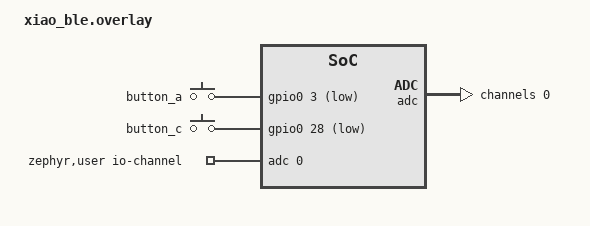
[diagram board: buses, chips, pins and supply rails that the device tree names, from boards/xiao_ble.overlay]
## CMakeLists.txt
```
cmake_minimum_required(VERSION 3.20.0)

find_package(Zephyr REQUIRED HINTS $ENV{ZEPHYR_BASE})
project(tethos_pet)

target_sources(app PRIVATE
  src/main.c
  src/update_mode.c
  src/battery.c
  src/pet_save.c
)
```

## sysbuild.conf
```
# MCUboot in front of the app, so updates land in slot 1 and roll back if unconfirmed.
SB_CONFIG_BOOTLOADER_MCUBOOT=y

# Only images signed with our key will boot.
SB_CONFIG_BOOT_SIGNATURE_TYPE_ECDSA_P256=y
SB_CONFIG_BOOT_SIGNATURE_KEY_FILE="\${APP_DIR}/keys/signing-key.pem"
```

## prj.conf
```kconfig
CONFIG_LOG=y
CONFIG_GPIO=y
CONFIG_ADC=y
CONFIG_REBOOT=y

# Bluetooth peripheral
CONFIG_BT=y
CONFIG_BT_PERIPHERAL=y
CONFIG_BT_DEVICE_NAME="Tethos Pet"

# DFU over BLE: MCUmgr + SMP GATT service + image/OS management
CONFIG_NCS_SAMPLE_MCUMGR_BT_OTA_DFU=y
CONFIG_NCS_SAMPLE_MCUMGR_BT_OTA_DFU_SPEEDUP=y

# Pet save lives in its own flash partition, outside the image slots
CONFIG_FLASH=y
CONFIG_FLASH_MAP=y
CONFIG_NVS=y
CONFIG_SETTINGS=y
CONFIG_SETTINGS_NVS=y
```

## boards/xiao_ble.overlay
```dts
#include <zephyr/dt-bindings/adc/nrf-saadc.h>
#include <zephyr/dt-bindings/input/input-event-codes.h>

/*
 * Dev board wiring: buttons from D1 and D2 to GND.
 * The production board maps these to the real A and C buttons.
 */
/ {
	pet_buttons {
		compatible = "gpio-keys";

		button_a: button_a {
			gpios = <&gpio0 3 (GPIO_PULL_UP | GPIO_ACTIVE_LOW)>;
			zephyr,code = <INPUT_KEY_A>;
		};

		button_c: button_c {
			gpios = <&gpio0 28 (GPIO_PULL_UP | GPIO_ACTIVE_LOW)>;
			zephyr,code = <INPUT_KEY_C>;
		};
	};

	zephyr,user {
		io-channels = <&adc 0>;
	};
};

/* Supply voltage (the coin cell on the production board) */
&adc {
	#address-cells = <1>;
	#size-cells = <0>;
	status = "okay";

	channel@0 {
		reg = <0>;
		zephyr,gain = "ADC_GAIN_1_6";
		zephyr,reference = "ADC_REF_INTERNAL";
		zephyr,acquisition-time = <ADC_ACQ_TIME_DEFAULT>;
		zephyr,input-positive = <NRF_SAADC_VDD>;
		zephyr,resolution = <12>;
	};
};
```

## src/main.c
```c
#include "battery.h"
#include "pet_save.h"
#include "update_mode.h"

#include <app_version.h>
#include <zephyr/bluetooth/bluetooth.h>
#include <zephyr/dfu/mcuboot.h>
#include <zephyr/drivers/gpio.h>
#include <zephyr/kernel.h>
#include <zephyr/logging/log.h>
#include <zephyr/sys/reboot.h>

LOG_MODULE_REGISTER(main, LOG_LEVEL_INF);

/* Change this between versions to see an update land: v1.0 blinks slowly. */
#define BLINK_MS 1000

static const struct gpio_dt_spec led = GPIO_DT_SPEC_GET(DT_ALIAS(led0), gpios);

/*
 * After an update, MCUboot runs the new image once in "test" mode. If we
 * reboot without confirming, MCUboot restores the previous image. Only
 * confirm once everything needed for the *next* update works, so a release
 * that breaks Bluetooth can never strand a pet.
 */
static void confirm_or_revert(bool healthy)
{
	if (boot_is_img_confirmed()) {
		return;
	}
	if (!healthy) {
		LOG_ERR("Self-test failed, reverting to previous firmware");
		k_sleep(K_MSEC(100));
		sys_reboot(SYS_REBOOT_COLD);
	}
	if (boot_write_img_confirmed()) {
		LOG_ERR("Could not confirm image");
		return;
	}
	LOG_INF("New firmware confirmed");
}

int main(void)
{
	bool healthy = true;
	int err;

	LOG_INF("Tethos Pet v%s", APP_VERSION_STRING);

	err = pet_save_load();
	if (err) {
		LOG_ERR("Save load failed (%d)", err);
		healthy = false;
	}

	err = battery_init();
	if (err) {
		LOG_ERR("Battery ADC failed (%d)", err);
		healthy = false;
	}

	err = bt_enable(NULL);
	if (err) {
		LOG_ERR("Bluetooth failed (%d)", err);
		healthy = false;
	}

	err = update_mode_init();
	if (err) {
		LOG_ERR("Update mode init failed (%d)", err);
		healthy = false;
	}

	confirm_or_revert(healthy);

	pet.boot_count++;
	pet_save_write();
	LOG_INF("Boot #%u, save v%u", pet.boot_count, pet.version);

	gpio_pin_configure_dt(&led, GPIO_OUTPUT_INACTIVE);
	while (1) {
		gpio_pin_toggle_dt(&led);
		k_sleep(K_MSEC(BLINK_MS));
	}
	return 0;
}
```

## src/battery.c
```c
#include "battery.h"

#include <zephyr/drivers/adc.h>
#include <zephyr/logging/log.h>

LOG_MODULE_REGISTER(battery, LOG_LEVEL_INF);

static const struct adc_dt_spec vdd = ADC_DT_SPEC_GET(DT_PATH(zephyr_user));

int battery_init(void)
{
	if (!adc_is_ready_dt(&vdd)) {
		return -ENODEV;
	}
	return adc_channel_setup_dt(&vdd);
}

int battery_mv(void)
{
	int16_t raw;
	struct adc_sequence seq = {
		.buffer = &raw,
		.buffer_size = sizeof(raw),
	};
	int err;

	err = adc_sequence_init_dt(&vdd, &seq);
	if (err) {
		return err;
	}
	err = adc_read_dt(&vdd, &seq);
	if (err) {
		return err;
	}

	int32_t mv = raw;

	err = adc_raw_to_millivolts_dt(&vdd, &mv);
	if (err) {
		return err;
	}
	return mv;
}
```

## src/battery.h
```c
#pragma once

/* Returns supply voltage in mV, or a negative errno. */
int battery_init(void);
int battery_mv(void);
```

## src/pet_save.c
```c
#include "pet_save.h"

#include <string.h>
#include <zephyr/logging/log.h>
#include <zephyr/settings/settings.h>

LOG_MODULE_REGISTER(pet_save, LOG_LEVEL_INF);

struct pet_save pet;

static int pet_set(const char *key, size_t len, settings_read_cb read_cb, void *cb_arg)
{
	if (strcmp(key, "save") != 0) {
		return -ENOENT;
	}

	/* An older save may be shorter than the current struct; new fields keep their defaults. */
	ssize_t n = read_cb(cb_arg, &pet, MIN(len, sizeof(pet)));

	return n < 0 ? (int)n : 0;
}

SETTINGS_STATIC_HANDLER_DEFINE(pet, "pet", NULL, pet_set, NULL, NULL);

static void migrate(void)
{
	if (pet.version == PET_SAVE_VERSION) {
		return;
	}
	LOG_INF("Migrating save v%u -> v%u", pet.version, PET_SAVE_VERSION);

	/* Add one block per version, e.g.:
	 * if (pet.version < 2) { pet.new_field = DEFAULT; }
	 */

	pet.version = PET_SAVE_VERSION;
}

int pet_save_load(void)
{
	int err;

	memset(&pet, 0, sizeof(pet));
	pet.version = PET_SAVE_VERSION;

	err = settings_subsys_init();
	if (err) {
		return err;
	}
	err = settings_load_subtree("pet");
	if (err) {
		return err;
	}
	migrate();
	return 0;
}

int pet_save_write(void)
{
	return settings_save_one("pet/save", &pet, sizeof(pet));
}
```

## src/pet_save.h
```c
#pragma once

#include <stdint.h>

/*
 * Bump PET_SAVE_VERSION whenever this struct changes, and add a migration
 * step in pet_save.c so pets saved by older firmware keep working.
 * Only append fields; never reorder or remove.
 */
#define PET_SAVE_VERSION 1

struct pet_save {
	uint16_t version;
	uint32_t boot_count;
};

extern struct pet_save pet;

int pet_save_load(void);
int pet_save_write(void);
```

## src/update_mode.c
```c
#include "update_mode.h"
#include "battery.h"

#include <zephyr/bluetooth/bluetooth.h>
#include <zephyr/bluetooth/conn.h>
#include <zephyr/drivers/gpio.h>
#include <zephyr/kernel.h>
#include <zephyr/logging/log.h>

LOG_MODULE_REGISTER(update_mode, LOG_LEVEL_INF);

#define HOLD_MS        3000
#define POLL_MS        100
#define WINDOW_SECONDS 120
#define MIN_BATTERY_MV 2700

/* MCUmgr SMP service, advertised so the web page can filter for it */
#define SMP_SERVICE_UUID \
	BT_UUID_128_ENCODE(0x8d53dc1d, 0x1db7, 0x4cd3, 0x868b, 0x8a527460aa84)

static const struct gpio_dt_spec button_a = GPIO_DT_SPEC_GET(DT_NODELABEL(button_a), gpios);
static const struct gpio_dt_spec button_c = GPIO_DT_SPEC_GET(DT_NODELABEL(button_c), gpios);
static const struct gpio_dt_spec led_update = GPIO_DT_SPEC_GET(DT_ALIAS(led2), gpios);

static const struct bt_data ad[] = {
	BT_DATA_BYTES(BT_DATA_FLAGS, (BT_LE_AD_GENERAL | BT_LE_AD_NO_BREDR)),
	BT_DATA_BYTES(BT_DATA_UUID128_ALL, SMP_SERVICE_UUID),
};

static const struct bt_data sd[] = {
	BT_DATA(BT_DATA_NAME_COMPLETE, CONFIG_BT_DEVICE_NAME, sizeof(CONFIG_BT_DEVICE_NAME) - 1),
};

static bool active;
static bool connected;
static uint32_t held_ms;

static void poll_handler(struct k_work *work);
static void window_expired(struct k_work *work);
static void restart_adv(struct k_work *work);

static K_WORK_DELAYABLE_DEFINE(poll_work, poll_handler);
static K_WORK_DELAYABLE_DEFINE(window_work, window_expired);
static K_WORK_DEFINE(adv_work, restart_adv);

static int start_adv(void)
{
	int err = bt_le_adv_start(BT_LE_ADV_CONN_FAST_1, ad, ARRAY_SIZE(ad), sd, ARRAY_SIZE(sd));

	if (err && err != -EALREADY) {
		LOG_ERR("Advertising failed (%d)", err);
	}
	return err;
}

static void enter(void)
{
	int mv = battery_mv();

	if (mv >= 0 && mv < MIN_BATTERY_MV) {
		/* TODO: show "battery low" on the screen once the display driver exists */
		LOG_WRN("Battery too low for update: %d mV", mv);
		return;
	}

	if (start_adv() && !connected) {
		return;
	}
	active = true;
	gpio_pin_set_dt(&led_update, 1);
	k_work_reschedule(&window_work, K_SECONDS(WINDOW_SECONDS));
	LOG_INF("Update mode on (%d mV)", mv);
}

static void leave(void)
{
	active = false;
	bt_le_adv_stop();
	gpio_pin_set_dt(&led_update, 0);
	LOG_INF("Update mode off");
}

static void window_expired(struct k_work *work)
{
	/* Never cut off an upload in progress; the window only closes while idle. */
	if (connected) {
		k_work_reschedule(&window_work, K_SECONDS(WINDOW_SECONDS));
		return;
	}
	leave();
}

static void restart_adv(struct k_work *work)
{
	if (active && !connected) {
		start_adv();
	}
}

static void poll_handler(struct k_work *work)
{
	bool both = gpio_pin_get_dt(&button_a) > 0 && gpio_pin_get_dt(&button_c) > 0;

	if (!both) {
		held_ms = 0;
	} else if (held_ms < HOLD_MS) {
		held_ms += POLL_MS;
		if (held_ms >= HOLD_MS && !active) {
			enter();
		}
	}
	k_work_reschedule(&poll_work, K_MSEC(POLL_MS));
}

static void on_connected(struct bt_conn *conn, uint8_t err)
{
	if (!err) {
		connected = true;
	}
}

static void on_disconnected(struct bt_conn *conn, uint8_t reason)
{
	connected = false;
	/* The browser reconnects on its own if the link drops mid-upload; keep advertising for it. */
	if (active) {
		k_work_submit(&adv_work);
		k_work_reschedule(&window_work, K_SECONDS(WINDOW_SECONDS));
	}
}

BT_CONN_CB_DEFINE(conn_callbacks) = {
	.connected = on_connected,
	.disconnected = on_disconnected,
};

int update_mode_init(void)
{
	int err;

	if (!gpio_is_ready_dt(&button_a) || !gpio_is_ready_dt(&button_c) ||
	    !gpio_is_ready_dt(&led_update)) {
		return -ENODEV;
	}
	err = gpio_pin_configure_dt(&button_a, GPIO_INPUT);
	if (err) {
		return err;
	}
	err = gpio_pin_configure_dt(&button_c, GPIO_INPUT);
	if (err) {
		return err;
	}
	err = gpio_pin_configure_dt(&led_update, GPIO_OUTPUT_INACTIVE);
	if (err) {
		return err;
	}
	k_work_reschedule(&poll_work, K_MSEC(POLL_MS));
	return 0;
}
```

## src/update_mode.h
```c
#pragma once

/* Hold A + C for 3 s to open a 2 minute window where the website can update the pet. */
int update_mode_init(void);
```
